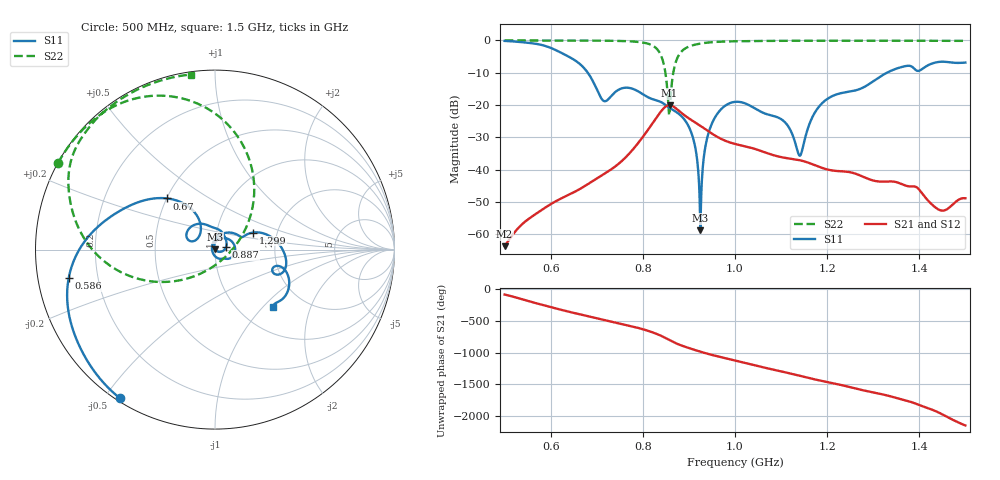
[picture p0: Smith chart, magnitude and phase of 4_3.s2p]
! TOUCHSTONE file generated by CST MICROWAVE STUDIO
! Date and time: Fri Oct 30 07:48:25 2020
! Project name: Scenario_1_Circular_Tissue_out_of_Line.cst
! Parameters = {dy1=-293.977; L_HA=400; MT=2.54; Rad_Dielectric=30; Rad_Lower=7.3; Rad_Upper=30; a_HA=580; a_WG=246; b_HA=500; b_WG=121; c_HA=0; c_WG=187; d_feed=85; dx1=520; h_feed=15; h_lower=18; h_upper=40}
! Header version: 2018
! Port assignment regex: !\s*Touchstone port\s*([0-9]+)\s*=\s*(CST MWS port|CST DS port)\s*([0-9]+|Zmin|Zmax)\s*\(\"(.*)\"\)(\s*mode\s*([0-9]+))?.*
! Touchstone port assignment:
! Touchstone port 1 = CST MWS port 1 ("")
! Touchstone port 2 = CST MWS port 2 ("")
# GHz S DB R 50
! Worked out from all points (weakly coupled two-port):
!   1001 points, 500 MHz to 1.5 GHz, reference 50 ohm
!   highest |S21| = -20.03 dB at 858 MHz (marker M1); lowest = -63.6 dB at 500 MHz (marker M2)
!   lowest |S11| = -58.8 dB at 925 MHz (marker M3), VSWR 1.00, Z = 50.1 + j0.0862 ohm
!   |S11| at or under -10 dB: 680.6 MHz to 1.33 GHz (649 MHz wide, 64.6 % of centre)
!   |S22| runs from -23.2 to 0.0 dB; largest |S21 - S12| = 6.8e-05
!   S11 on the Smith chart (normalised r, x): 500 MHz: 0.01, -0.55; 586 MHz: 0.09, -0.10; 670 MHz: 0.50, +0.34; 887 MHz: 1.13, +0.03; 1.299 GHz: 1.50, +0.30; 1.5 GHz: 1.40, -1.14
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0.5  -0.15 -122.5  -63.65 -84.0  -63.65 -84.0  -0.01 151.1
0.586  -1.61 -168.9  -51.92 105.7  -51.92 105.7  -0.02 145.2
0.667  -7.76 135.5  -45.66 -41.3  -45.66 -41.3  -0.04 138.4
0.67  -8.18 133.0  -45.40 -46.3  -45.40 -46.3  -0.04 138.1
0.715  -18.72 139.1  -41.40 -123.1  -41.40 -123.1  -0.08 133.0
0.79  -15.77 117.8  -31.71 110.3  -31.71 110.3  -0.46 116.9
0.834  -18.75 82.4  -23.00 4.7  -23.00 4.7  -3.25 82.9
0.858  -20.86 53.8  -20.03 -81.8  -20.03 -81.8  -22.55 -72.8
0.871  -22.00 37.8  -20.91 -128.5  -20.91 -128.5  -6.92 -158.5
0.887  -23.92 13.5  -22.79 -174.4  -22.79 -174.4  -2.99 177.5
0.91  -30.72 -26.0  -25.05 130.3  -25.05 130.3  -1.43 161.8
0.925  -58.78 48.4  -26.43 96.6  -26.43 96.6  -0.97 156.0
0.936  -32.62 101.6  -27.50 73.2  -27.50 73.2  -0.75 152.6
0.948  -26.36 82.2  -28.65 49.5  -28.65 49.5  -0.57 149.5
1  -19.00 5.2  -32.02 -41.1  -32.02 -41.1  -0.27 140.1
1.104  -24.74 -62.5  -36.20 139.8  -36.20 139.8  -0.12 129.3
1.14  -35.63 -165.9  -37.04 78.3  -37.04 78.3  -0.11 126.3
1.167  -24.01 86.2  -38.24 30.5  -38.24 30.5  -0.10 124.1
1.299  -12.73 24.2  -43.30 176.6  -43.31 176.6  -0.08 114.1
1.334  -9.69 11.4  -43.62 120.6  -43.62 120.5  -0.09 111.4
1.447  -6.59 -31.0  -52.59 -159.1  -52.60 -159.0  -0.11 102.4
1.5  -6.85 -45.1  -48.83 15.3  -48.83 15.3  -0.14 97.8
